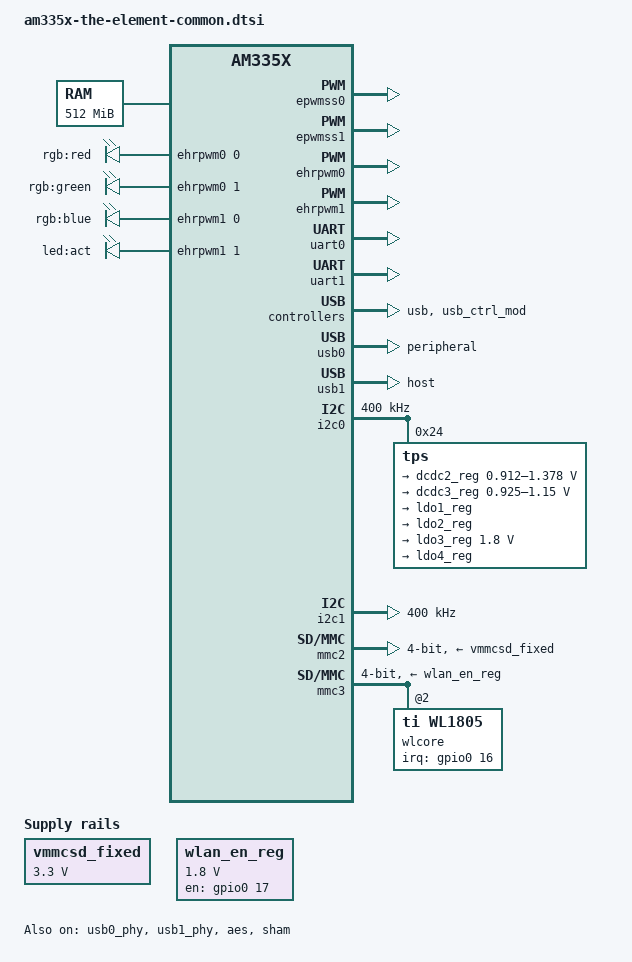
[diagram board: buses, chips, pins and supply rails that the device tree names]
/*
 * Copyright (C) 2012 Texas Instruments Incorporated - http://www.ti.com/
 *
 * This program is free software; you can redistribute it and/or modify
 * it under the terms of the GNU General Public License version 2 as
 * published by the Free Software Foundation.
 */
#include <dt-bindings/interrupt-controller/irq.h>

/ {
	cpus {
		cpu@0 {
			cpu0-supply = <&dcdc2_reg>;
		};
	};

	memory {
		device_type = "memory";
		reg = <0x80000000 0x20000000>; /* 512 MB */
	};
	
	pwm_led {
		pinctrl-names = "default";
		pinctrl-0 = <&user_leds_s0>;
		compatible = "pwm-leds";
            
        led_red {
			label = "rgb:red";
			pwms = <&ehrpwm0 0 50000 0>;
			max-brightness = <255>;
			linux,default-trigger = "default-off";
			brightness = <0>;
		};
		led_green {
			label = "rgb:green";
			pwms = <&ehrpwm0 1 50000 0>;
			max-brightness = <255>;
			linux,default-trigger = "default-off";
			brightness = <0>;
		};
		led_blue {
			label = "rgb:blue";
			pwms = <&ehrpwm1 0 50000 0>;
			max-brightness = <255>;
			linux,default-trigger = "default-off";
			brightness = <0>;
		};
		led_act {
			label = "led:act";
			pwms = <&ehrpwm1 1 50000 0>;
			max-brightness = <255>;
			linux,default-trigger = "mmc0";
			brightness = <255>;
		};
	};

	vmmcsd_fixed: fixedregulator@0 {
		compatible = "regulator-fixed";
		regulator-name = "vmmcsd-fixed";
		regulator-min-microvolt = <3300000>;
		regulator-max-microvolt = <3300000>;
	};
	
	wlan_en_reg: fixedregulator@1 {
		compatible = "regulator-fixed";
		regulator-name = "wlan-en-regulator";
		regulator-min-microvolt = <1800000>;
		regulator-max-microvolt = <1800000>;

		/* WLAN_EN GPIO for this board - Bank0, pin17 */
		gpio = <&gpio0 17 0>;

		/* WLAN card specific delay */
		startup-delay-us = <70000>;
		enable-active-high;
	};
};

&am33xx_pinmux {
	pinctrl-names = "default", "sleep";
	pinctrl-0 = <&clkout2_pin &wlan_pins>;
	pinctrl-1 = <&clkout2_pin &wlan_pins_sleep>;

	user_leds_s0: user_leds_s0 {
		pinctrl-single,pins = <
			0x150 (PIN_OUTPUT_PULLDOWN | MUX_MODE3)	/* spi_sclk0.ehrpwm0a */
			0x154 (PIN_OUTPUT_PULLDOWN | MUX_MODE3)	/* spi_d0.ehrpwm0b */
			0x048 (PIN_OUTPUT_PULLUP | MUX_MODE6)	/* gpmc_a2.ehrpwm1a */
			0x04c (PIN_OUTPUT_PULLUP | MUX_MODE6)	/* gpmc_a3.ehrpwm1b */
		>;
	};

	i2c0_pins: pinmux_i2c0_pins {
		pinctrl-single,pins = <
			0x18c ( PIN_INPUT | MUX_MODE0 ) /* (C16) I2C0_SCL.I2C0_SCL */
			0x188 ( PIN_INPUT | MUX_MODE0 ) /* (C17) I2C0_SDA.I2C0_SDA */
		>;
	};

	i2c1_pins: pinmux_i2c1_pins {
		pinctrl-single,pins = <
			0x15c (PIN_INPUT| MUX_MODE2 ) 	/* (A16) spi0_cs0.I2C1_SCL */
			0x158 (PIN_INPUT | MUX_MODE2 )	/* (B16) spi0_d1.I2C1_SDA */
		>;
	};

	uart0_pins: pinmux_uart0_pins {
		pinctrl-single,pins = <
			0x170 (PIN_INPUT_PULLUP | MUX_MODE0)	/* (E15) uart0_rxd.uart0_rxd */
			0x174 (PIN_OUTPUT_PULLDOWN | MUX_MODE0)	/* (E16) uart0_txd.uart0_txd */
		>;
	};

	uart1_pins: pinmux_uart1_pins {
		pinctrl-single,pins = <
			0x180 (PIN_INPUT_PULLUP | MUX_MODE0) 	/* (D16) uart1_rxd.uart1_rxd */
			0x184 (PIN_OUTPUT_PULLDOWN | MUX_MODE0)	/* (D15) uart1_txd.uart1_txd */
		>;
	};

	clkout2_pin: pinmux_clkout2_pin {
		pinctrl-single,pins = <
			0x1b4 (PIN_OUTPUT_PULLDOWN | MUX_MODE3)	/* xdma_event_intr1.clkout2 */
		>;
	};

	wifi_sdio_pins: pinmux_wifi_sdio_pins {
		pinctrl-single,pins = <
			0x8c (PIN_INPUT_PULLUP | MUX_MODE3) /* gpmc_clk.mmc2_clk */
			0x88 (PIN_INPUT_PULLUP | MUX_MODE3) /* gpmc_csn3.mmc2_cmd */
			0x30 (PIN_INPUT_PULLUP | MUX_MODE3) /* gpmc_ad12.mmc2_dat0 */
			0x34 (PIN_INPUT_PULLUP | MUX_MODE3) /* gpmc_ad13.mmc2_dat1 */
			0x38 (PIN_INPUT_PULLUP | MUX_MODE3) /* gpmc_ad14.mmc2_dat2 */
			0x3c (PIN_INPUT_PULLUP | MUX_MODE3) /* gpmc_ad15.mmc2_dat3 */
		>;
	};
	
	wlan_pins: pinmux_wlan_pins {
		pinctrl-single,pins = <
			0x120 (PIN_OUTPUT_PULLDOWN | MUX_MODE7) /* gmii1_txd2.gpio0_17 WLAN_EN*/
			0x11c (PIN_INPUT_PULLUP | MUX_MODE7)    /* gmii1_txd3.gpio0_16 WLAN_IRQ */
		>;
	};

	wlan_pins_sleep: pinmux_wlan_pins_sleep {
		pinctrl-single,pins = <
			0x120 (PIN_OUTPUT_PULLUP | MUX_MODE7) /* gmii1_txd2.gpio0_17 WLAN_EN*/
			0x11c (PIN_INPUT_PULLUP | MUX_MODE7)  /* gmii1_txd3.gpio0_16 WLAN_IRQ */
		>;
	};
	
	emmc_pins: pinmux_emmc_pins {
		pinctrl-single,pins = <
			0x80 (PIN_INPUT_PULLUP | MUX_MODE2) /* gpmc_csn1.mmc1_clk */
			0x84 (PIN_INPUT_PULLUP | MUX_MODE2) /* gpmc_csn2.mmc1_cmd */
			0x00 (PIN_INPUT_PULLUP | MUX_MODE1) /* gpmc_ad0.mmc1_dat0 */
			0x04 (PIN_INPUT_PULLUP | MUX_MODE1) /* gpmc_ad1.mmc1_dat1 */
			0x08 (PIN_INPUT_PULLUP | MUX_MODE1) /* gpmc_ad2.mmc1_dat2 */
			0x0c (PIN_INPUT_PULLUP | MUX_MODE1) /* gpmc_ad3.mmc1_dat3 */
		>;
	};
};

/* PWM subsystem */
&epwmss0 {
	status = "okay";
};

&epwmss1 {
	status = "okay";
};

/* PWM driver in AM335x */
&ehrpwm0 {			
	status = "okay";			
};

&ehrpwm1 {			
	status = "okay";			
};

/* Uart for the serial console */
&uart0 {
	pinctrl-names = "default";
	pinctrl-0 = <&uart0_pins>;
	status = "okay";
};

/* UART on the bottom connector */
&uart1 {
	pinctrl-names = "default";
	pinctrl-0 = <&uart1_pins>;
	status = "okay";
};

&usb {
	status = "okay";
};

&usb_ctrl_mod {
	status = "okay";
};

&usb0_phy {
	status = "okay";
};

&usb1_phy {
	status = "okay";
};

&usb0 {
	status = "okay";
	dr_mode = "peripheral";
};

&usb1 {
	status = "okay";
	dr_mode = "host";
};

&cppi41dma  {
	status = "okay";
};


/* I2C for the PMIC */
&i2c0 {
	pinctrl-names = "default";
	pinctrl-0 = <&i2c0_pins>;
	clock-frequency = <400000>;
	status = "okay";

	tps: tps@24 {
		reg = <0x24>;
	};

};

/include/ "tps65217.dtsi"

/* I2C on the bottom connector */
&i2c1 {
	pinctrl-names = "default";
	pinctrl-0 = <&i2c1_pins>;
	clock-frequency = <400000>;
	status = "okay";
};

&tps {
	ti,pmic-shutdown-controller;

	interrupt-parent = <&intc>;
	interrupts = <7>;	/* NNMI */

	regulators {
		dcdc1_reg: regulator@0 {
			regulator-always-on;
		};

		dcdc2_reg: regulator@1 {
			/* VDD_MPU voltage limits 0.95V - 1.325V with +/-4% tolerance */
			regulator-name = "vdd_mpu";
			regulator-min-microvolt = <912500>;
			regulator-max-microvolt = <1378000>;
			regulator-boot-on;
			regulator-always-on;
		};

		dcdc3_reg: regulator@2 {
			/* VDD_CORE voltage limits 0.95V - 1.1V with +/-4% tolerance */
			regulator-name = "vdd_core";
			regulator-min-microvolt = <925000>;
			regulator-max-microvolt = <1150000>;
			regulator-boot-on;
			regulator-always-on;
		};

		ldo1_reg: regulator@3 {
			regulator-name = "vio,vrtc,vdds";
			regulator-always-on;
		};

		ldo2_reg: regulator@4 {
			regulator-name = "vdd_3v3aux";
			regulator-always-on;
		};

		ldo3_reg: regulator@5 {
			regulator-name = "vdd_1v8";
			regulator-always-on;
		};

		ldo4_reg: regulator@6 {
			regulator-name = "vdd_3v3a";
			regulator-always-on;
		};

	};
};

&ldo3_reg {
	regulator-min-microvolt = <1800000>;
	regulator-max-microvolt = <1800000>;
	regulator-always-on;
};

&mmc2 {
	vmmc-supply = <&vmmcsd_fixed>;
	pinctrl-names = "default";
	pinctrl-0 = <&emmc_pins>;
	bus-width = <4>;
	ti,non-removable;
	keep-power-in-suspend;
	status = "okay";
};

&mmc3 {
	status = "okay";
	vmmc-supply = <&wlan_en_reg>;
	bus-width = <4>;
	pinctrl-names = "default";
	pinctrl-0 = <&wifi_sdio_pins>;
	ti,non-removable;
	ti,needs-special-hs-handling;
	cap-power-off-card;
	keep-power-in-suspend;
	
	/* these are on the crossbar and are outlined in the
	   xbar-event-map element */
	dmas = <&edma_xbar 12 0 1
		    &edma_xbar 13 0 2>;
	dma-names = "tx", "rx";
	   
	#address-cells = <1>;
	#size-cells = <0>;
	wlcore: wlcore@0 {
		compatible = "ti,wl1805";
		reg = <2>;
		interrupt-parent = <&gpio0>;
		interrupts = <16 IRQ_TYPE_LEVEL_HIGH>;
	};
};

&aes {
	status = "okay";
};

&sham {
	status = "okay";
};

&wkup_m3_ipc {
	ti,scale-data-fw = "am335x-bone-scale-data.bin";
};

&rtc {
	system-power-controller;
};
